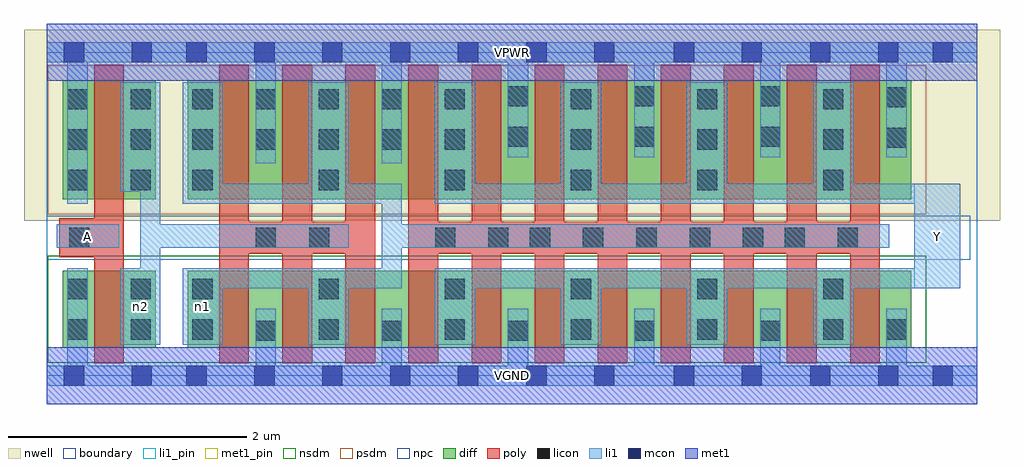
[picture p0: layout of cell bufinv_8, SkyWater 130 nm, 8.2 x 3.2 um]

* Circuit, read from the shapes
.subckt bufinv_8 A VGND VPWR Y n1 n2
XM1 n2 A VGND VSUBS sky130_fd_pr__nfet_01v8 w=0.65 l=0.25
XM2 VGND n2 n1 VSUBS sky130_fd_pr__nfet_01v8 w=0.65 l=0.25 m=3
XM3 Y n1 VGND VSUBS sky130_fd_pr__nfet_01v8 w=0.65 l=0.25 m=8
XM4 n2 A VPWR n3 sky130_fd_pr__pfet_01v8 w=1 l=0.25
XM5 VPWR n2 n1 n3 sky130_fd_pr__pfet_01v8 w=1 l=0.25 m=3
XM6 Y n1 VPWR n3 sky130_fd_pr__pfet_01v8 w=1 l=0.25 m=8
.ends

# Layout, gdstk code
import gdstk
lib = gdstk.Library(unit=1e-6, precision=1e-09)
def R(c, l, rs):  # rectangles x0, y0, x1, y1
    for r in rs: c.add(gdstk.rectangle(r[:2], r[2:], *l))
def A(c, l, x, y, w, h, nx, ny, dx, dy):  # array of equal rectangles
    R(c, l, [(x+i*dx, y+j*dy, x+i*dx+w, y+j*dy+h) for i in range(nx) for j in range(ny)])
nwell = (64, 20)
diff = (65, 20)
poly = (66, 20)
licon = (66, 44)
li1_pin = (67, 16)
li1 = (67, 20)
mcon = (67, 44)
met1_pin = (68, 16)
met1 = (68, 20)
nsdm = (93, 44)
psdm = (94, 20)
npc = (95, 20)
boundary = (235, 4)

bufinv_8 = lib.new_cell('bufinv_8')
R(bufinv_8, nwell, [(-0.19,1.305,8.01,2.91), (0,1.305,7.82,2.91)])
R(bufinv_8, diff, [(0.135,0.235,0.915,0.885), (1.185,0.235,7.265,0.885), (0.135,1.485,0.915,2.485), (1.185,1.485,7.265,2.485)])
A(bufinv_8, poly, 1.45, 0.105, 0.25, 2.51, 11, 1, 0.53, 0)
R(bufinv_8, poly, [(0.4,0.105,0.65,2.615), (0.105,0.995,0.65,1.325), (1.45,1.025,2.76,1.295), (3.04,1.025,7,1.295)])
A(bufinv_8, licon, 1.755, 0.295, 0.17, 0.17, 5, 1, 1.06, 0)
A(bufinv_8, licon, 1.225, 0.305, 0.17, 0.17, 6, 2, 1.06, 0.34)
A(bufinv_8, licon, 4.505, 1.075, 0.17, 0.17, 3, 1, 0.45, 0)
A(bufinv_8, licon, 0.175, 1.56, 0.17, 0.17, 1, 3, 0, 0.34)
A(bufinv_8, licon, 0.705, 1.56, 0.17, 0.17, 1, 3, 0, 0.34)
A(bufinv_8, licon, 1.225, 1.56, 0.17, 0.17, 6, 1, 1.06, 0)
A(bufinv_8, licon, 1.225, 1.9, 0.17, 0.17, 5, 2, 0.53, 0.34)
A(bufinv_8, licon, 4.405, 1.9, 0.17, 0.17, 3, 2, 1.06, 0.34)
A(bufinv_8, licon, 3.875, 1.925, 0.17, 0.17, 3, 2, 1.06, 0.34)
R(bufinv_8, licon, [(0.175,0.305,0.345,0.475), (0.705,0.305,0.875,0.475), (7.055,0.305,7.225,0.475), (0.175,0.645,0.345,0.815), (0.705,0.645,0.875,0.815), (0.19,1.075,0.36,1.245), (1.755,1.075,1.925,1.245), (2.205,1.075,2.375,1.245), (3.265,1.075,3.435,1.245), (3.71,1.075,3.88,1.245), (4.06,1.075,4.23,1.245), (5.85,1.075,6.02,1.245), (6.2,1.075,6.37,1.245), (6.645,1.075,6.815,1.245), (7.055,1.915,7.225,2.085), (7.055,2.255,7.225,2.425)])
R(bufinv_8, li1_pin, [(7.29,0.735,7.675,1.615), (0.085,1.075,0.61,1.275)])
A(bufinv_8, li1, 1.755, -0.085, 0.17, 0.65, 6, 1, 1.06, 0)
A(bufinv_8, li1, 2.2, 0.26, 0.34, 0.645, 5, 1, 1.06, 0)
A(bufinv_8, li1, 2.2, 1.445, 0.34, 1.02, 5, 1, 1.06, 0)
A(bufinv_8, li1, 3.875, 1.835, 0.17, 0.97, 4, 1, 1.06, 0)
R(bufinv_8, li1, [(0,-0.085,7.82,0.085), (0.175,-0.085,0.345,0.905), (0.62,0.26,0.955,0.905), (0.785,0.26,0.955,2.465), (1.145,0.26,1.48,0.905), (1.145,0.735,2.985,0.905), (2.815,0.735,2.985,1.615), (3.26,0.735,7.675,0.905), (7.29,0.735,7.675,1.615), (0.085,1.075,0.61,1.275), (0.785,1.075,2.54,1.275), (2.815,1.075,7.08,1.275), (0.175,1.445,0.345,2.805), (1.145,1.445,2.985,1.615), (1.145,1.445,1.48,2.465), (3.26,1.445,7.675,1.615), (0.62,1.545,0.955,2.465), (1.755,1.785,1.925,2.805), (2.815,1.785,2.985,2.805), (0,2.635,7.82,2.805)])
A(bufinv_8, mcon, 1.175, -0.085, 0.17, 0.17, 5, 2, 0.57, 2.72)
R(bufinv_8, mcon, [(0.145,-0.085,0.315,0.085), (0.715,-0.085,0.885,0.085), (4.03,-0.085,4.2,0.085), (4.6,-0.085,4.77,0.085), (5.27,-0.085,5.44,0.085), (5.84,-0.085,6.01,0.085), (6.415,-0.085,6.585,0.085), (6.985,-0.085,7.155,0.085), (7.445,-0.085,7.615,0.085), (0.145,2.635,0.315,2.805), (0.715,2.635,0.885,2.805), (4.03,2.635,4.2,2.805), (4.6,2.635,4.77,2.805), (5.27,2.635,5.44,2.805), (5.84,2.635,6.01,2.805), (6.415,2.635,6.585,2.805), (6.985,2.635,7.155,2.805), (7.445,2.635,7.615,2.805)])
R(bufinv_8, met1_pin, [(0,-0.24,7.82,0.24), (0,2.48,7.82,2.96)])
R(bufinv_8, met1, [(0,-0.24,7.82,0.24), (0,2.48,7.82,2.96)])
R(bufinv_8, nsdm, [(0.01,0.11,7.39,1.01)])
R(bufinv_8, psdm, [(0.01,1.36,7.39,2.61)])
R(bufinv_8, npc, [(0,0.975,7.76,1.345)])
R(bufinv_8, boundary, [(0,0,7.82,2.72)])
bufinv_8.add(gdstk.Label('A', (0.347,1.175), layer=67, texttype=5))
bufinv_8.add(gdstk.Label('Y', (7.482,1.175), layer=67, texttype=5))
bufinv_8.add(gdstk.Label('n2', (0.787,0.582), layer=67, texttype=5))
bufinv_8.add(gdstk.Label('n1', (1.312,0.582), layer=67, texttype=5))
bufinv_8.add(gdstk.Label('VPWR', (3.91,2.72), layer=68, texttype=5))
bufinv_8.add(gdstk.Label('VGND', (3.91,0), layer=68, texttype=5))
bufinv_8.add(gdstk.Label('A', (0.347,1.175), layer=67, texttype=16))
bufinv_8.add(gdstk.Label('Y', (7.482,1.175), layer=67, texttype=16))
bufinv_8.add(gdstk.Label('VPWR', (3.91,2.72), layer=68, texttype=16))
bufinv_8.add(gdstk.Label('VGND', (3.91,0), layer=68, texttype=16))

lib.write_gds('bufinv_8.gds')
